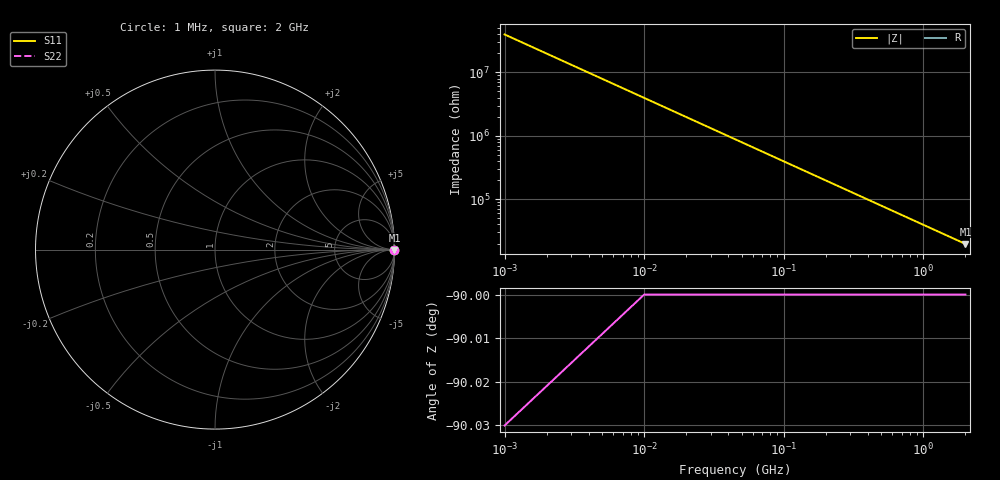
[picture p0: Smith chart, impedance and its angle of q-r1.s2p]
! Sonnet Data File
! From: em Version : 14.52
! From Project: q-r1
! Data is De-embedded
! Data File Written: 04/02/2019 02:21:25
!< HDATE 03/29/2019 00:30:41
!< MDATE 03/29/2019 00:30:41
# GHZ Y MA R 1.0
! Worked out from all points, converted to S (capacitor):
!   201 points, 1 MHz to 2 GHz, reference 1 ohm
!   read as one part in series: C = 4.02 fF near 10 MHz
!   lowest |Z| = 19.7 kohm at 2 GHz (marker M1)
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0.001  4.2e-07 90.0  2.526e-08 -90.0  2.526e-08 -90.0  6.275e-07 90.1
!< P1 F=0.001 Eeff=(undefined: sl) Z0=(undefined: sl) R=0.0 C=0.0
!< P2 F=0.001 Eeff=(undefined: sl) Z0=(undefined: sl) R=0.0 C=0.0
0.34  0.0001428 90.0  8.59e-06 -90.0  8.59e-06 -90.0  0.0002132 90.0
0.67  0.0002814 90.0  1.693e-05 -90.0  1.693e-05 -90.0  0.0004203 90.0
1.01  0.0004242 90.0  2.553e-05 -90.0  2.553e-05 -90.0  0.0006337 90.0
1.34  0.0005629 90.0  3.389e-05 -90.0  3.389e-05 -90.0  0.000841 90.0
1.6  0.0006722 90.0  4.049e-05 -90.0  4.049e-05 -90.0  0.001005 90.0
1.63  0.0006848 90.0  4.125e-05 -90.0  4.125e-05 -90.0  0.001023 90.0
1.67  0.0007016 90.0  4.226e-05 -90.0  4.226e-05 -90.0  0.001049 90.0
1.7  0.0007142 90.0  4.303e-05 -90.0  4.303e-05 -90.0  0.001067 90.0
1.74  0.000731 90.0  4.404e-05 -90.0  4.404e-05 -90.0  0.001093 90.0
1.77  0.0007437 90.0  4.48e-05 -90.0  4.48e-05 -90.0  0.001111 90.0
1.78  0.0007479 90.0  4.506e-05 -90.0  4.506e-05 -90.0  0.001118 90.0
1.83  0.0007689 90.0  4.633e-05 -90.0  4.633e-05 -90.0  0.001149 90.0
1.84  0.0007731 90.0  4.658e-05 -90.0  4.658e-05 -90.0  0.001156 90.0
1.87  0.0007857 90.0  4.735e-05 -90.0  4.735e-05 -90.0  0.001174 90.0
1.88  0.0007899 90.0  4.76e-05 -90.0  4.76e-05 -90.0  0.001181 90.0
1.93  0.0008109 90.0  4.887e-05 -90.0  4.887e-05 -90.0  0.001212 90.0
1.94  0.0008151 90.0  4.913e-05 -90.0  4.913e-05 -90.0  0.001219 90.0
1.97  0.0008278 90.0  4.989e-05 -90.0  4.989e-05 -90.0  0.001237 90.0
1.98  0.000832 90.0  5.014e-05 -90.0  5.014e-05 -90.0  0.001244 90.0
1.99  0.0008362 90.0  5.04e-05 -90.0  5.04e-05 -90.0  0.00125 90.0
2  0.0008404 90.0  5.065e-05 -90.0  5.065e-05 -90.0  0.001256 90.0
